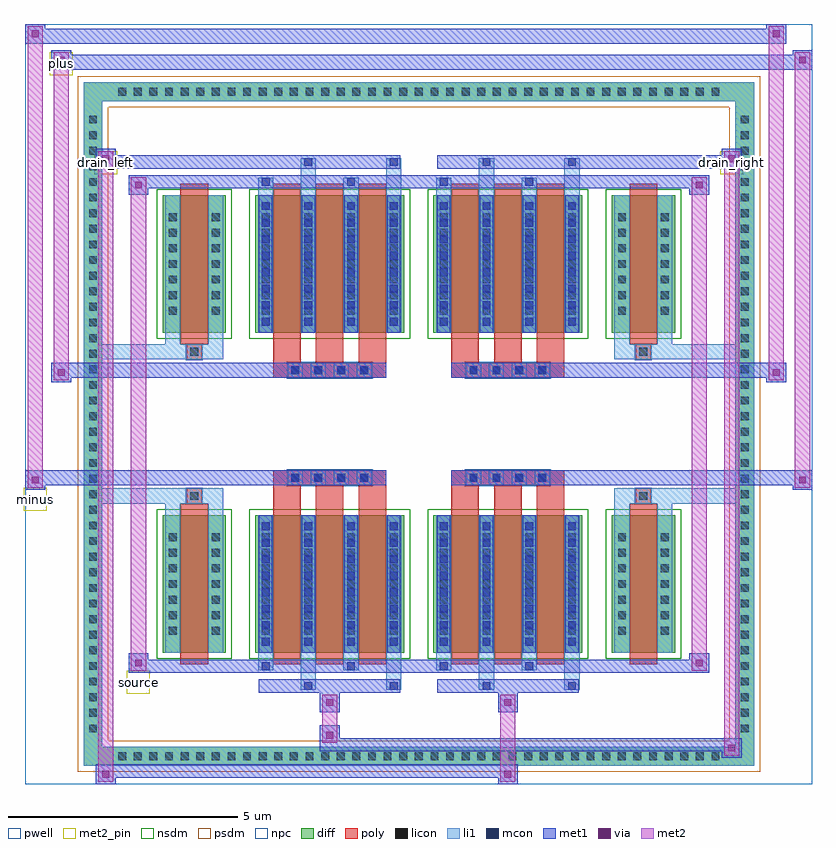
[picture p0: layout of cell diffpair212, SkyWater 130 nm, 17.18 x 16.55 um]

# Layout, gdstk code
import gdstk
lib = gdstk.Library(unit=1e-6, precision=5e-09)
def R(c, l, rs):  # rectangles x0, y0, x1, y1
    for r in rs: c.add(gdstk.rectangle(r[:2], r[2:], *l))
def A(c, l, x, y, w, h, nx, ny, dx, dy):  # array of equal rectangles
    R(c, l, [(x+i*dx, y+j*dy, x+i*dx+w, y+j*dy+h) for i in range(nx) for j in range(ny)])
def P(c, l, *ps):  # polygons
    for p in ps: c.add(gdstk.Polygon(p, *l))
pwell = (64, 44)
diff = (65, 20)
poly = (66, 20)
licon = (66, 44)
li1 = (67, 20)
mcon = (67, 44)
met1 = (68, 20)
via = (68, 44)
met2_pin = (69, 16)
met2 = (69, 20)
nsdm = (93, 44)
psdm = (94, 20)
npc = (95, 20)

diffpair212 = lib.new_cell('diffpair212')
R(diffpair212, pwell, [(-8.57,-7.84,8.57,8.71), (-5.89,-6.03,-0.01,-0.805), (0.01,-6.03,5.89,-0.805), (-5.89,0.805,-0.01,6.03), (0.01,0.805,5.89,6.03)])
A(diffpair212, diff, -6.665, -7.44, 0.41, 0.41, 39, 2, 0.34, 14.47)
A(diffpair212, diff, -7.3, -6.835, 0.41, 0.41, 1, 40, 0, 0.34)
A(diffpair212, diff, 6.89, -6.835, 0.41, 0.41, 1, 40, 0, 0.34)
R(diffpair212, diff, [(-6.665,-7.44,6.665,-7.03), (-7.3,-6.835,-6.89,6.835), (6.89,-6.835,7.3,6.835), (-5.58,-4.985,-4.2,-1.985), (-3.56,-4.985,-0.32,-1.985), (0.32,-4.985,3.56,-1.985), (4.2,-4.985,5.58,-1.985), (-5.58,1.985,-4.2,4.985), (-3.56,1.985,-0.32,4.985), (0.32,1.985,3.56,4.985), (4.2,1.985,5.58,4.985), (-6.665,7.03,6.665,7.44)])
P(diffpair212, diff, [(7.3,7.44),(-7.3,7.44),(-7.3,-7.03),(-6.89,-7.03),(-6.89,7.03),(6.89,7.03),(6.89,-7.03),(-6.89,-7.03),(-7.3,-7.03),(-7.3,-7.44),(7.3,-7.44)])
A(diffpair212, poly, -3.17, -5.235, 0.6, 3.5, 3, 2, 0.93, 6.97)
A(diffpair212, poly, 0.71, -5.235, 0.6, 3.5, 3, 2, 0.93, 6.97)
A(diffpair212, poly, -3.17, -1.735, 0.6, 0.4, 3, 2, 0.93, 3.07)
A(diffpair212, poly, 0.71, -1.735, 0.6, 0.4, 3, 2, 0.93, 3.07)
A(diffpair212, poly, -2.855, -1.335, 0.33, 0.33, 4, 2, 0.5, 2.34)
A(diffpair212, poly, 1.025, -1.335, 0.33, 0.33, 4, 2, 0.5, 2.34)
R(diffpair212, poly, [(-5.19,-5.235,-4.59,-1.735), (4.59,-5.235,5.19,-1.735), (-5.055,-1.735,-4.725,-1.405), (-5.055,-1.735,-4.725,-1.405), (4.725,-1.735,5.055,-1.405), (4.725,-1.735,5.055,-1.405), (-3.17,-1.335,-0.71,-1.005), (0.71,-1.335,3.17,-1.005), (-3.17,1.005,-0.71,1.335), (0.71,1.005,3.17,1.335), (-5.055,1.405,-4.725,1.735), (-5.055,1.405,-4.725,1.735), (4.725,1.405,5.055,1.735), (4.725,1.405,5.055,1.735), (-5.19,1.735,-4.59,5.235), (4.59,1.735,5.19,5.235)])
A(diffpair212, licon, -6.545, -7.32, 0.17, 0.17, 39, 2, 0.34, 14.47)
A(diffpair212, licon, -7.18, -6.715, 0.17, 0.17, 1, 40, 0, 0.34)
A(diffpair212, licon, 7.01, -6.715, 0.17, 0.17, 1, 40, 0, 0.34)
A(diffpair212, licon, -5.44, -4.59, 0.17, 0.17, 1, 7, 0, 0.34)
A(diffpair212, licon, -4.51, -4.59, 0.17, 0.17, 1, 7, 0, 0.34)
A(diffpair212, licon, -3.42, -4.59, 0.17, 0.17, 4, 7, 0.93, 0.34)
A(diffpair212, licon, 0.46, -4.59, 0.17, 0.17, 4, 7, 0.93, 0.34)
A(diffpair212, licon, 4.34, -4.59, 0.17, 0.17, 1, 7, 0, 0.34)
A(diffpair212, licon, 5.27, -4.59, 0.17, 0.17, 1, 7, 0, 0.34)
A(diffpair212, licon, -2.775, -1.255, 0.17, 0.17, 4, 2, 0.5, 2.34)
A(diffpair212, licon, 1.105, -1.255, 0.17, 0.17, 4, 2, 0.5, 2.34)
A(diffpair212, licon, -5.44, 2.38, 0.17, 0.17, 1, 7, 0, 0.34)
A(diffpair212, licon, -4.51, 2.38, 0.17, 0.17, 1, 7, 0, 0.34)
A(diffpair212, licon, -3.42, 2.38, 0.17, 0.17, 4, 7, 0.93, 0.34)
A(diffpair212, licon, 0.46, 2.38, 0.17, 0.17, 4, 7, 0.93, 0.34)
A(diffpair212, licon, 4.34, 2.38, 0.17, 0.17, 1, 7, 0, 0.34)
A(diffpair212, licon, 5.27, 2.38, 0.17, 0.17, 1, 7, 0, 0.34)
R(diffpair212, licon, [(-4.975,-1.655,-4.805,-1.485), (4.805,-1.655,4.975,-1.485), (-4.975,1.485,-4.805,1.655), (4.805,1.485,4.975,1.655)])
A(diffpair212, li1, -6.625, -7.4, 0.33, 0.33, 39, 2, 0.34, 14.47)
A(diffpair212, li1, -7.26, -6.795, 0.33, 0.33, 1, 40, 0, 0.34)
A(diffpair212, li1, 6.93, -6.795, 0.33, 0.33, 1, 40, 0, 0.34)
A(diffpair212, li1, -3.5, -4.985, 0.33, 3, 4, 2, 0.93, 6.97)
A(diffpair212, li1, 0.38, -4.985, 0.33, 3, 4, 2, 0.93, 6.97)
A(diffpair212, li1, -3.42, -4.83, 0.17, 0.17, 4, 8, 0.93, 0.36)
A(diffpair212, li1, -3.42, -4.83, 0.17, 2.69, 4, 2, 0.93, 6.97)
A(diffpair212, li1, 0.46, -4.83, 0.17, 0.17, 4, 8, 0.93, 0.36)
A(diffpair212, li1, 0.46, -4.83, 0.17, 2.69, 4, 2, 0.93, 6.97)
A(diffpair212, li1, -5.52, -4.67, 0.33, 0.33, 1, 7, 0, 0.34)
A(diffpair212, li1, -4.59, -4.67, 0.33, 0.33, 1, 7, 0, 0.34)
A(diffpair212, li1, -3.5, -4.67, 0.33, 0.33, 4, 7, 0.93, 0.34)
A(diffpair212, li1, 0.38, -4.67, 0.33, 0.33, 4, 7, 0.93, 0.34)
A(diffpair212, li1, 4.26, -4.67, 0.33, 0.33, 1, 7, 0, 0.34)
A(diffpair212, li1, 5.19, -4.67, 0.33, 0.33, 1, 7, 0, 0.34)
A(diffpair212, li1, -2.855, -1.335, 0.33, 0.33, 4, 2, 0.5, 2.34)
A(diffpair212, li1, 1.025, -1.335, 0.33, 0.33, 4, 2, 0.5, 2.34)
A(diffpair212, li1, -3.42, 2.14, 0.17, 0.17, 4, 8, 0.93, 0.36)
A(diffpair212, li1, 0.46, 2.14, 0.17, 0.17, 4, 8, 0.93, 0.36)
A(diffpair212, li1, -5.52, 2.3, 0.33, 0.33, 1, 7, 0, 0.34)
A(diffpair212, li1, -4.59, 2.3, 0.33, 0.33, 1, 7, 0, 0.34)
A(diffpair212, li1, -3.5, 2.3, 0.33, 0.33, 4, 7, 0.93, 0.34)
A(diffpair212, li1, 0.38, 2.3, 0.33, 0.33, 4, 7, 0.93, 0.34)
A(diffpair212, li1, 4.26, 2.3, 0.33, 0.33, 1, 7, 0, 0.34)
A(diffpair212, li1, 5.19, 2.3, 0.33, 0.33, 1, 7, 0, 0.34)
R(diffpair212, li1, [(-7.3,-7.44,-6.89,-7.03), (-7.3,-7.44,-6.89,-7.03), (-6.89,-7.44,6.89,-7.03), (6.89,-7.44,7.3,-7.03), (6.89,-7.44,7.3,-7.03), (-7.3,-7.03,-6.89,7.03), (6.89,-7.03,7.3,7.03), (-2.57,-5.79,-2.24,-4.985), (-2.49,-5.79,-2.32,-5.62), (-0.71,-5.79,-0.38,-4.985), (-0.63,-5.79,-0.46,-5.62), (1.31,-5.79,1.64,-4.985), (1.39,-5.79,1.56,-5.62), (3.17,-5.79,3.5,-4.985), (3.25,-5.79,3.42,-5.62), (-3.5,-5.36,-3.17,-4.985), (-3.42,-5.36,-3.25,-5.19), (-1.64,-5.36,-1.31,-4.985), (-1.56,-5.36,-1.39,-5.19), (0.38,-5.36,0.71,-4.985), (0.46,-5.36,0.63,-5.19), (2.24,-5.36,2.57,-4.985), (2.32,-5.36,2.49,-5.19), (-5.52,-4.985,-5.19,-1.985), (-4.59,-4.985,-4.26,-1.985), (4.26,-4.985,4.59,-1.985), (5.19,-4.985,5.52,-1.985), (-5.52,-1.985,-5.19,-1.405), (-4.59,-1.985,-4.26,-1.405), (4.26,-1.985,4.59,-1.405), (5.19,-1.985,5.52,-1.405), (-7.3,-1.735,-5.055,-1.405), (-5.52,-1.735,-5.055,-1.405), (-5.055,-1.735,-4.725,-1.405), (-4.725,-1.735,-4.26,-1.405), (4.26,-1.735,4.725,-1.405), (4.725,-1.735,5.055,-1.405), (4.725,-1.735,7.3,-1.405), (5.055,-1.735,5.52,-1.405), (-7.3,1.405,-5.055,1.735), (-5.52,1.405,-5.055,1.735), (-5.52,1.405,-5.19,1.985), (-5.055,1.405,-4.725,1.735), (-4.725,1.405,-4.26,1.735), (-4.59,1.405,-4.26,1.985), (4.26,1.405,4.725,1.735), (4.26,1.405,4.59,1.985), (4.725,1.405,5.055,1.735), (4.725,1.405,7.3,1.735), (5.055,1.405,5.52,1.735), (5.19,1.405,5.52,1.985), (-5.52,1.985,-5.19,4.985), (-4.59,1.985,-4.26,4.985), (4.26,1.985,4.59,4.985), (5.19,1.985,5.52,4.985), (-3.5,4.985,-3.17,5.36), (-2.57,4.985,-2.24,5.79), (-1.64,4.985,-1.31,5.36), (-0.71,4.985,-0.38,5.79), (0.38,4.985,0.71,5.36), (1.31,4.985,1.64,5.79), (2.24,4.985,2.57,5.36), (3.17,4.985,3.5,5.79), (-3.42,5.19,-3.25,5.36), (-1.56,5.19,-1.39,5.36), (0.46,5.19,0.63,5.36), (2.32,5.19,2.49,5.36), (-2.49,5.62,-2.32,5.79), (-0.63,5.62,-0.46,5.79), (1.39,5.62,1.56,5.79), (3.25,5.62,3.42,5.79), (-7.3,7.03,-6.89,7.44), (-7.3,7.03,-6.89,7.44), (-6.89,7.03,6.89,7.44), (6.89,7.03,7.3,7.44), (6.89,7.03,7.3,7.44)])
A(diffpair212, mcon, -3.42, -4.83, 0.17, 0.17, 4, 8, 0.93, 0.36)
A(diffpair212, mcon, 0.46, -4.83, 0.17, 0.17, 4, 8, 0.93, 0.36)
A(diffpair212, mcon, -2.775, -1.255, 0.17, 0.17, 4, 2, 0.5, 2.34)
A(diffpair212, mcon, 1.105, -1.255, 0.17, 0.17, 4, 2, 0.5, 2.34)
A(diffpair212, mcon, -3.42, 2.14, 0.17, 0.17, 4, 8, 0.93, 0.36)
A(diffpair212, mcon, 0.46, 2.14, 0.17, 0.17, 4, 8, 0.93, 0.36)
R(diffpair212, mcon, [(-2.49,-5.79,-2.32,-5.62), (-0.63,-5.79,-0.46,-5.62), (1.39,-5.79,1.56,-5.62), (3.25,-5.79,3.42,-5.62), (-3.42,-5.36,-3.25,-5.19), (-1.56,-5.36,-1.39,-5.19), (0.46,-5.36,0.63,-5.19), (2.32,-5.36,2.49,-5.19), (-3.42,5.19,-3.25,5.36), (-1.56,5.19,-1.39,5.36), (0.46,5.19,0.63,5.36), (2.32,5.19,2.49,5.36), (-2.49,5.62,-2.32,5.79), (-0.63,5.62,-0.46,5.79), (1.39,5.62,1.56,5.79), (3.25,5.62,3.42,5.79)])
A(diffpair212, met1, -3.48, -4.985, 0.29, 3, 4, 2, 0.93, 6.97)
A(diffpair212, met1, 0.4, -4.985, 0.29, 3, 4, 2, 0.93, 6.97)
A(diffpair212, met1, -3.48, -4.89, 0.29, 0.29, 4, 8, 0.93, 0.36)
A(diffpair212, met1, 0.4, -4.89, 0.29, 0.29, 4, 8, 0.93, 0.36)
A(diffpair212, met1, -2.835, -1.315, 0.29, 0.29, 4, 2, 0.5, 2.34)
A(diffpair212, met1, 1.045, -1.315, 0.29, 0.29, 4, 2, 0.5, 2.34)
A(diffpair212, met1, -3.48, 2.08, 0.29, 0.29, 4, 8, 0.93, 0.36)
A(diffpair212, met1, 0.4, 2.08, 0.29, 0.29, 4, 8, 0.93, 0.36)
R(diffpair212, met1, [(-7.03,-7.84,-6.6,-7.41), (1.725,-7.84,2.155,-7.41), (-7.03,-7.7,2.155,-7.41), (6.6,-7.27,7.03,-6.84), (-2.155,-7.13,7.03,-6.84), (-2.155,-6.99,-1.725,-6.56), (-2.155,-6.28,-1.725,-5.85), (1.725,-6.28,2.155,-5.85), (-3.48,-5.85,-0.4,-5.56), (-2.55,-5.85,-2.26,-5.56), (-0.69,-5.85,-0.4,-5.56), (0.4,-5.85,3.48,-5.56), (1.33,-5.85,1.62,-5.56), (3.19,-5.85,3.48,-5.56), (-6.32,-5.42,-5.89,-4.99), (-6.32,-5.42,-3.48,-5.13), (-3.48,-5.42,-3.19,-5.13), (-3.48,-5.42,-0.4,-5.13), (-1.62,-5.42,-1.33,-5.13), (-0.4,-5.42,0.4,-5.13), (0.4,-5.42,0.69,-5.13), (0.4,-5.42,3.48,-5.13), (2.26,-5.42,2.55,-5.13), (3.48,-5.42,6.32,-5.13), (5.89,-5.42,6.32,-4.99), (-8.57,-1.435,-8.14,-1.005), (8.14,-1.435,8.57,-1.005), (-8.57,-1.335,-0.71,-1.005), (-3.17,-1.335,-0.71,-1.005), (0.71,-1.335,3.17,-1.005), (0.71,-1.335,8.57,-1.005), (-8,0.905,-7.57,1.335), (7.57,0.905,8,1.335), (-8,1.005,-3.17,1.335), (-3.17,1.005,-0.71,1.335), (0.71,1.005,3.17,1.335), (3.17,1.005,8,1.335), (-6.32,4.99,-5.89,5.42), (5.89,4.99,6.32,5.42), (-6.32,5.13,-3.48,5.42), (-3.48,5.13,-3.19,5.42), (-3.48,5.13,-0.4,5.42), (-1.62,5.13,-1.33,5.42), (-0.4,5.13,0.4,5.42), (0.4,5.13,0.69,5.42), (0.4,5.13,3.48,5.42), (2.26,5.13,2.55,5.42), (3.48,5.13,6.32,5.42), (-7.03,5.56,-6.6,5.99), (-7.03,5.56,-3.48,5.85), (-3.48,5.56,-0.4,5.85), (-2.55,5.56,-2.26,5.85), (-0.69,5.56,-0.4,5.85), (0.4,5.56,3.48,5.85), (1.33,5.56,1.62,5.85), (3.19,5.56,3.48,5.85), (3.48,5.56,7.03,5.85), (6.6,5.56,7.03,5.99), (-8,7.71,-7.57,8.14), (-8,7.71,-5.89,8.04), (-5.89,7.71,5.89,8.04), (5.89,7.71,8.57,8.04), (8.14,7.71,8.57,8.14), (-8.57,8.28,-8.14,8.71), (-8.57,8.28,-5.89,8.61), (-5.89,8.28,5.89,8.61), (5.89,8.28,8,8.61), (7.57,8.28,8,8.71)])
R(diffpair212, via, [(-6.89,-7.7,-6.74,-7.55), (1.865,-7.7,2.015,-7.55), (6.74,-7.13,6.89,-6.98), (-2.015,-6.85,-1.865,-6.7), (-2.015,-6.14,-1.865,-5.99), (1.865,-6.14,2.015,-5.99), (-6.18,-5.28,-6.03,-5.13), (6.03,-5.28,6.18,-5.13), (-8.43,-1.295,-8.28,-1.145), (8.28,-1.295,8.43,-1.145), (-7.86,1.045,-7.71,1.195), (7.71,1.045,7.86,1.195), (-6.18,5.13,-6.03,5.28), (6.03,5.13,6.18,5.28), (-6.89,5.7,-6.74,5.85), (6.74,5.7,6.89,5.85), (-7.86,7.85,-7.71,8), (8.28,7.85,8.43,8), (-8.43,8.42,-8.28,8.57), (7.71,8.42,7.86,8.57)])
R(diffpair212, met2_pin, [(-6.355,-5.87,-5.855,-5.37), (-8.605,-1.885,-8.105,-1.385), (-7.065,5.44,-6.565,5.94), (6.565,5.44,7.065,5.94), (-8.035,7.59,-7.535,8.09)])
R(diffpair212, met2, [(-6.98,-7.79,-6.65,-7.46), (-6.98,-7.79,-6.65,5.94), (1.775,-7.79,2.105,-7.46), (1.775,-7.46,2.105,-6.23), (6.65,-7.22,6.98,-6.89), (6.65,-7.22,6.98,5.94), (-2.105,-6.94,-1.775,-6.61), (-2.105,-6.61,-1.775,-6.23), (-2.105,-6.23,-1.775,-5.9), (1.775,-6.23,2.105,-5.9), (-6.27,-5.37,-5.94,-5.04), (-6.27,-5.37,-5.94,5.37), (5.94,-5.37,6.27,-5.04), (5.94,-5.37,6.27,5.37), (-8.52,-1.385,-8.19,-1.055), (-8.52,-1.385,-8.19,8.66), (8.19,-1.385,8.52,-1.055), (8.19,-1.385,8.52,8.09), (-7.95,0.955,-7.62,1.285), (-7.95,0.955,-7.62,8.09), (7.62,0.955,7.95,1.285), (7.62,0.955,7.95,8.66), (-6.27,5.04,-5.94,5.37), (5.94,5.04,6.27,5.37), (-6.98,5.61,-6.65,5.94), (6.65,5.61,6.98,5.94), (-7.95,7.76,-7.62,8.09), (8.19,7.76,8.52,8.09), (-8.52,8.33,-8.19,8.66), (7.62,8.33,7.95,8.66)])
P(diffpair212, met2, [(8.52,-1.385),(8.52,-1.385),(8.52,-1.055),(8.52,-1.055)],
  [(8.52,7.76),(8.52,7.76),(8.52,8.09),(8.52,8.09)],
  [(-8.19,-1.385),(-8.19,-1.385),(-8.19,-1.055),(-8.19,-1.055)],
  [(-8.19,8.33),(-8.19,8.33),(-8.19,8.66),(-8.19,8.66)],
  [(7.95,0.955),(7.95,0.955),(7.95,1.285),(7.95,1.285)],
  [(7.95,8.33),(7.95,8.33),(7.95,8.66),(7.95,8.66)],
  [(-7.62,0.955),(-7.62,0.955),(-7.62,1.285),(-7.62,1.285)],
  [(-7.62,7.76),(-7.62,7.76),(-7.62,8.09),(-7.62,8.09)],
  [(-6.65,-7.79),(-6.65,-7.79),(-6.65,-7.46),(-6.65,-7.46)],
  [(-6.65,5.61),(-6.65,5.61),(-6.65,5.94),(-6.65,5.94)],
  [(6.98,-7.22),(6.98,-7.22),(6.98,-6.89),(6.98,-6.89)],
  [(6.98,5.61),(6.98,5.61),(6.98,5.94),(6.98,5.94)],
  [(-5.94,-5.37),(-5.94,-5.37),(-5.94,-5.04),(-5.94,-5.04)],
  [(-5.94,5.04),(-5.94,5.04),(-5.94,5.37),(-5.94,5.37)],
  [(6.27,-5.37),(6.27,-5.37),(6.27,-5.04),(6.27,-5.04)],
  [(6.27,5.04),(6.27,5.04),(6.27,5.37),(6.27,5.37)])
R(diffpair212, nsdm, [(-5.71,-5.115,-4.07,-1.855), (-3.69,-5.115,-0.19,-1.855), (0.19,-5.115,3.69,-1.855), (4.07,-5.115,5.71,-1.855), (-5.71,1.855,-4.07,5.115), (-3.69,1.855,-0.19,5.115), (0.19,1.855,3.69,5.115), (4.07,1.855,5.71,5.115)])
P(diffpair212, psdm, [(7.43,7.57),(-7.43,7.57),(-7.43,-6.9),(-6.76,-6.9),(-6.76,6.9),(6.76,6.9),(6.76,-6.9),(-6.76,-6.9),(-7.43,-6.9),(-7.43,-7.57),(7.43,-7.57)])
A(diffpair212, npc, -2.875, -1.355, 0.37, 0.37, 4, 2, 0.5, 2.34)
A(diffpair212, npc, 1.005, -1.355, 0.37, 0.37, 4, 2, 0.5, 2.34)
R(diffpair212, npc, [(-5.075,-1.755,-4.705,-1.385), (4.705,-1.755,5.075,-1.385), (-2.875,-1.355,-2.005,-0.985), (-2.875,-1.355,-2.005,-0.985), (-2.375,-1.355,-1.505,-0.985), (-2.375,-1.355,-1.505,-0.985), (-1.875,-1.355,-1.005,-0.985), (-1.875,-1.355,-1.005,-0.985), (1.005,-1.355,1.875,-0.985), (1.005,-1.355,1.875,-0.985), (1.505,-1.355,2.375,-0.985), (1.505,-1.355,2.375,-0.985), (2.005,-1.355,2.875,-0.985), (2.005,-1.355,2.875,-0.985), (-2.875,0.985,-2.005,1.355), (-2.875,0.985,-2.005,1.355), (-2.375,0.985,-1.505,1.355), (-2.375,0.985,-1.505,1.355), (-1.875,0.985,-1.005,1.355), (-1.875,0.985,-1.005,1.355), (1.005,0.985,1.875,1.355), (1.005,0.985,1.875,1.355), (1.505,0.985,2.375,1.355), (1.505,0.985,2.375,1.355), (2.005,0.985,2.875,1.355), (2.005,0.985,2.875,1.355), (-5.075,1.385,-4.705,1.755), (4.705,1.385,5.075,1.755)])
diffpair212.add(gdstk.Label('minus', (-8.355,-1.635), layer=69, texttype=5))
diffpair212.add(gdstk.Label('drain_right', (6.815,5.69), layer=69, texttype=5))
diffpair212.add(gdstk.Label('drain_left', (-6.815,5.69), layer=69, texttype=5))
diffpair212.add(gdstk.Label('source', (-6.105,-5.62), layer=69, texttype=5))
diffpair212.add(gdstk.Label('plus', (-7.785,7.84), layer=69, texttype=5))

lib.write_gds('diffpair212.gds')
